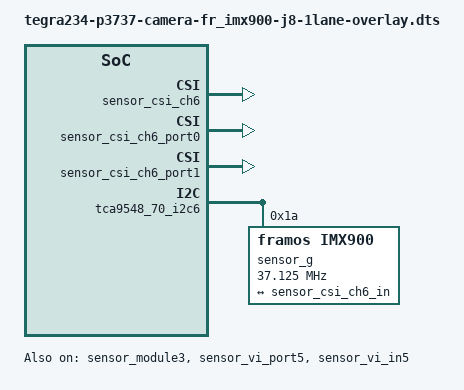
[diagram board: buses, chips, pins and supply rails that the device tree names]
// SPDX-License-Identifier: GPL-2.0
/*
 * Copyright (c) 2024 Framos. All rights reserved.
 *
 * tegra234-p3737-camera-fr_imx900-j8-1lane-overlay.dts - IMX900 sensor device tree
 */

/dts-v1/;
/plugin/;

#include <dt-bindings/clock/tegra234-clock.h>
#include <dt-bindings/gpio/tegra234-gpio.h>
#include <dt-bindings/tegra234-p3737-0000+p3701-0000.h>


/ {
	overlay-name = "Framos IMX900-J8-1Lane";
	jetson-header-name = "Jetson AGX CSI Connector";
	compatible = JETSON_COMPATIBLE;

	fragment@0 {
		target = <&sensor_module3>;
		__overlay__ {
			status = "okay";
			badge = "imx900_topright_framos";
			drivernode0 {
				status = "okay";
				/* Declare PCL support driver (classically known as guid) */
				devname = "imx900 15-001a";
				/* Declare the device-tree hierarchy to driver instance */
				sysfs-device-tree = "/sys/firmware/devicetree/base/bus@0/i2c@3180000/tca9548@70/i2c@6/imx900_g@1a";
			};
		};
	};

	fragment@1 {
		target = <&sensor_vi_port5>;
		__overlay__ {
			status = "okay";
		};
	};

	fragment@2 {
		target = <&sensor_vi_in5>;
		__overlay__ {
			status = "okay";
			bus-width = <1>;
		};
	};

	fragment@3 {
		target = <&sensor_csi_ch6>;
		__overlay__ {
			status = "okay";
			ports {
				status = "okay";
			};
		};
	};

	fragment@4 {
		target = <&sensor_csi_ch6_port0>;
		__overlay__ {
			status = "okay";
		};
	};

	fragment@5 {
		target = <&sensor_csi_ch6_in>;
		__overlay__ {
			status = "okay";
			bus-width = <1>;
			remote-endpoint = <&sensor_out_g>;
		};
	};

	fragment@6 {
		target = <&sensor_csi_ch6_port1>;
		__overlay__ {
			status = "okay";
		};
	};

	fragment@7 {
		target = <&sensor_csi_ch6_out>;
		__overlay__ {
			status = "okay";
		};
	};

	fragment@8 {
		target = <&tca9548_70_i2c6>;
		__overlay__ {
			sensor_g: imx900_g@1a {
				compatible = "framos,imx900";
				reg = <0x1a>;

				/* Define any required hw resources needed by driver */
				/* ie. clocks, io pins, power sources */
				clocks = <&bpmp TEGRA234_CLK_EXTPERIPH1>, <&bpmp TEGRA234_CLK_EXTPERIPH1>;
				clock-names = "extperiph1", "pllp_grtba";
				mclk = "extperiph1";
				clock-frequency = <37125000>;

				devnode = "video6";

				physical_w = "12.00";
				physical_h = "9.30";

				sensor_model ="imx900";

				/* Defines number of frames to be dropped by driver internally after applying */
				/* sensor crop settings. Some sensors send corrupt frames after applying */
				/* crop co-ordinates */
				post_crop_frame_drop = "0";

				/* Convert Gain to unit of dB (decibel) befor passing to kernel driver */
				use_decibel_gain = "true";

				/* if true, delay gain setting by one frame to be in sync with exposure */
				delayed_gain = "false";

				/* enable CID_SENSOR_MODE_ID for sensor modes selection */
				use_sensor_mode_id = "false";

				mode0 {
					mclk_khz = "37125";
					num_lanes = "1";
					tegra_sinterface = "serial_g";
					vc_id = "0";
					phy_mode = "DPHY";
					discontinuous_clk = "no";
					dpcm_enable = "false";
					cil_settletime = "0";
					active_w = "2064";
					active_h = "1552";

					dynamic_pixel_bit_depth = "12";
					csi_pixel_bit_depth = "12";
					mode_type = "bayer";
					pixel_phase = "rggb";

					readout_orientation = "0";
					line_length = "3000";
					inherent_gain = "1";
					pix_clk_hz = "237600000";
					serdes_pix_clk_hz = "12000000000"; /* GMSL predefine */

					gain_factor = "10";
					min_gain_val = "0"; /* 0dB */
					max_gain_val = "480"; /* 48dB */
					step_gain_val = "1"; /* 0.1 */
					default_gain = "0";
					min_hdr_ratio = "1";
					max_hdr_ratio = "1";
					framerate_factor = "1000000";
					min_framerate = "1500000"; /* 1.5 */
					max_framerate = "55000000"; /* 55 */
					step_framerate = "1";
					default_framerate= "55000000";
					exposure_factor = "1000000";
					min_exp_time = "11"; /* us */
					step_exp_time = "1";
					max_exp_time = "660000"; /* us */
					default_exp_time = "10000";/* us */
					embedded_metadata_height = "1";
				};
				mode1 {
					mclk_khz = "37125";
					num_lanes = "1";
					tegra_sinterface = "serial_g";
					vc_id = "0";
					phy_mode = "DPHY";
					discontinuous_clk = "no";
					dpcm_enable = "false";
					cil_settletime = "0";
					active_w = "1920";
					active_h = "1080";

					dynamic_pixel_bit_depth = "12";
					csi_pixel_bit_depth = "12";
					mode_type = "bayer";
					pixel_phase = "rggb";

					readout_orientation = "0";
					line_length = "3000";
					inherent_gain = "1";
					pix_clk_hz = "237600000";
					serdes_pix_clk_hz = "12000000000"; /* GMSL predefine */

					gain_factor = "10";
					min_gain_val = "0"; /* 0dB */
					max_gain_val = "480"; /* 48dB */
					step_gain_val = "1"; /* 0.1 */
					default_gain = "0";
					min_hdr_ratio = "1";
					max_hdr_ratio = "1";
					framerate_factor = "1000000";
					min_framerate = "1500000"; /* 1.5 */
					max_framerate = "77000000"; /* 77 */
					step_framerate = "1";
					default_framerate= "77000000";
					exposure_factor = "1000000";
					min_exp_time = "11"; /* us */
					step_exp_time = "1";
					max_exp_time = "660000"; /* us */
					default_exp_time = "10000";/* us */
					embedded_metadata_height = "1";
				};
				mode2 {
					mclk_khz = "37125";
					num_lanes = "1";
					tegra_sinterface = "serial_g";
					vc_id = "0";
					phy_mode = "DPHY";
					discontinuous_clk = "no";
					dpcm_enable = "false";
					cil_settletime = "0";
					active_w = "1032";
					active_h = "776";

					dynamic_pixel_bit_depth = "12";
					csi_pixel_bit_depth = "12";
					mode_type = "bayer";
					pixel_phase = "gbrg";

					readout_orientation = "0";
					line_length = "3000";
					inherent_gain = "1";
					pix_clk_hz = "237600000";
					serdes_pix_clk_hz = "12000000000"; /* GMSL predefine */

					gain_factor = "10";
					min_gain_val = "0"; /* 0dB */
					max_gain_val = "480"; /* 48dB */
					step_gain_val = "1"; /* 0.1 */
					default_gain = "0";
					min_hdr_ratio = "1";
					max_hdr_ratio = "1";
					framerate_factor = "1000000";
					min_framerate = "1500000"; /* 1.5 */
					max_framerate = "188000000"; /* 188 */
					step_framerate = "1";
					default_framerate= "188000000";
					exposure_factor = "1000000";
					min_exp_time = "6"; /* us */
					step_exp_time = "1";
					max_exp_time = "660000"; /* us */
					default_exp_time = "10000";/* us */
					embedded_metadata_height = "1";
				};
				mode3 {
					mclk_khz = "37125";
					num_lanes = "1";
					tegra_sinterface = "serial_g";
					vc_id = "0";
					phy_mode = "DPHY";
					discontinuous_clk = "no";
					dpcm_enable = "false";
					cil_settletime = "0";
					active_w = "2064";
					active_h = "154";

					dynamic_pixel_bit_depth = "12";
					csi_pixel_bit_depth = "12";
					mode_type = "bayer";
					pixel_phase = "gbrg";

					readout_orientation = "0";
					line_length = "3000";
					inherent_gain = "1";
					pix_clk_hz = "237600000";
					serdes_pix_clk_hz = "12000000000"; /* GMSL predefine */

					gain_factor = "10";
					min_gain_val = "0"; /* 0dB */
					max_gain_val = "480"; /* 48dB */
					step_gain_val = "1"; /* 0.1 */
					default_gain = "0";
					min_hdr_ratio = "1";
					max_hdr_ratio = "1";
					framerate_factor = "1000000";
					min_framerate = "1500000"; /* 1.5 */
					max_framerate = "369000000"; /* 369 */
					step_framerate = "1";
					default_framerate= "369000000";
					exposure_factor = "1000000";
					min_exp_time = "11"; /* us */
					step_exp_time = "1";
					max_exp_time = "660000"; /* us */
					default_exp_time = "10000";/* us */
					embedded_metadata_height = "1";
				};
				mode4 {
					mclk_khz = "37125";
					num_lanes = "1";
					tegra_sinterface = "serial_g";
					vc_id = "0";
					phy_mode = "DPHY";
					discontinuous_clk = "no";
					dpcm_enable = "false";
					cil_settletime = "0";
					active_w = "1024";
					active_h = "720";

					dynamic_pixel_bit_depth = "12";
					csi_pixel_bit_depth = "12";
					mode_type = "bayer";
					pixel_phase = "rggb";

					readout_orientation = "0";
					line_length = "3000";
					inherent_gain = "1";
					pix_clk_hz = "237600000";
					serdes_pix_clk_hz = "12000000000"; /* GMSL predefine */

					gain_factor = "10";
					min_gain_val = "0"; /* 0dB */
					max_gain_val = "480"; /* 48dB */
					step_gain_val = "1"; /* 0.1 */
					default_gain = "0";
					min_hdr_ratio = "1";
					max_hdr_ratio = "1";
					framerate_factor = "1000000";
					min_framerate = "1500000"; /* 1.5 */
					max_framerate = "188000000"; /* 188 */
					step_framerate = "1";
					default_framerate= "188000000";
					exposure_factor = "1000000";
					min_exp_time = "6"; /* us */
					step_exp_time = "1";
					max_exp_time = "660000"; /* us */
					default_exp_time = "10000";/* us */
					embedded_metadata_height = "1";
				};
				mode5 {
					mclk_khz = "37125";
					num_lanes = "1";
					tegra_sinterface = "serial_g";
					vc_id = "0";
					phy_mode = "DPHY";
					discontinuous_clk = "no";
					dpcm_enable = "false";
					cil_settletime = "0";
					active_w = "2064";
					active_h = "1552";

					dynamic_pixel_bit_depth = "10";
					csi_pixel_bit_depth = "10";
					mode_type = "bayer";
					pixel_phase = "rggb";

					readout_orientation = "0";
					line_length = "3000";
					inherent_gain = "1";
					pix_clk_hz = "237600000";
					serdes_pix_clk_hz = "12000000000"; /* GMSL predefine */

					gain_factor = "10";
					min_gain_val = "0"; /* 0dB */
					max_gain_val = "480"; /* 48dB */
					step_gain_val = "1"; /* 0.1 */
					default_gain = "0";
					min_hdr_ratio = "1";
					max_hdr_ratio = "1";
					framerate_factor = "1000000";
					min_framerate = "1500000"; /* 1.5 */
					max_framerate = "65000000"; /* 65 */
					step_framerate = "1";
					default_framerate= "65000000";
					exposure_factor = "1000000";
					min_exp_time = "10"; /* us */
					step_exp_time = "1";
					max_exp_time = "660000"; /* us */
					default_exp_time = "10000";/* us */
					embedded_metadata_height = "1";
				};
				mode6 {
					mclk_khz = "37125";
					num_lanes = "1";
					tegra_sinterface = "serial_g";
					vc_id = "0";
					phy_mode = "DPHY";
					discontinuous_clk = "no";
					dpcm_enable = "false";
					cil_settletime = "0";
					active_w = "1920";
					active_h = "1080";

					dynamic_pixel_bit_depth = "10";
					csi_pixel_bit_depth = "10";
					mode_type = "bayer";
					pixel_phase = "rggb";

					readout_orientation = "0";
					line_length = "3000";
					inherent_gain = "1";
					pix_clk_hz = "237600000";
					serdes_pix_clk_hz = "12000000000"; /* GMSL predefine */

					gain_factor = "10";
					min_gain_val = "0"; /* 0dB */
					max_gain_val = "480"; /* 48dB */
					step_gain_val = "1"; /* 0.1 */
					default_gain = "0";
					min_hdr_ratio = "1";
					max_hdr_ratio = "1";
					framerate_factor = "1000000";
					min_framerate = "1500000"; /* 1.5 */
					max_framerate = "90000000"; /* 90 */
					step_framerate = "1";
					default_framerate= "90000000";
					exposure_factor = "1000000";
					min_exp_time = "10"; /* us */
					step_exp_time = "1";
					max_exp_time = "660000"; /* us */
					default_exp_time = "10000";/* us */
					embedded_metadata_height = "1";
				};
				mode7 {
					mclk_khz = "37125";
					num_lanes = "1";
					tegra_sinterface = "serial_g";
					vc_id = "0";
					phy_mode = "DPHY";
					discontinuous_clk = "no";
					dpcm_enable = "false";
					cil_settletime = "0";
					active_w = "1032";
					active_h = "776";

					dynamic_pixel_bit_depth = "10";
					csi_pixel_bit_depth = "10";
					mode_type = "bayer";
					pixel_phase = "gbrg";

					readout_orientation = "0";
					line_length = "3000";
					inherent_gain = "1";
					pix_clk_hz = "237600000";
					serdes_pix_clk_hz = "12000000000"; /* GMSL predefine */

					gain_factor = "10";
					min_gain_val = "0"; /* 0dB */
					max_gain_val = "480"; /* 48dB */
					step_gain_val = "1"; /* 0.1 */
					default_gain = "0";
					min_hdr_ratio = "1";
					max_hdr_ratio = "1";
					framerate_factor = "1000000";
					min_framerate = "1500000"; /* 1.5 */
					max_framerate = "217000000"; /* 217 */
					step_framerate = "1";
					default_framerate= "217000000";
					exposure_factor = "1000000";
					min_exp_time = "5"; /* us */
					step_exp_time = "1";
					max_exp_time = "660000"; /* us */
					default_exp_time = "10000";/* us */
					embedded_metadata_height = "1";
				};
				mode8 {
					mclk_khz = "37125";
					num_lanes = "1";
					tegra_sinterface = "serial_g";
					vc_id = "0";
					phy_mode = "DPHY";
					discontinuous_clk = "no";
					dpcm_enable = "false";
					cil_settletime = "0";
					active_w = "2064";
					active_h = "154";

					dynamic_pixel_bit_depth = "10";
					csi_pixel_bit_depth = "10";
					mode_type = "bayer";
					pixel_phase = "gbrg";

					readout_orientation = "0";
					line_length = "3000";
					inherent_gain = "1";
					pix_clk_hz = "237600000";
					serdes_pix_clk_hz = "12000000000"; /* GMSL predefine */

					gain_factor = "10";
					min_gain_val = "0"; /* 0dB */
					max_gain_val = "480"; /* 48dB */
					step_gain_val = "1"; /* 0.1 */
					default_gain = "0";
					min_hdr_ratio = "1";
					max_hdr_ratio = "1";
					framerate_factor = "1000000";
					min_framerate = "1500000"; /* 1.5 */
					max_framerate = "420000000"; /* 420 */
					step_framerate = "1";
					default_framerate= "420000000";
					exposure_factor = "1000000";
					min_exp_time = "10"; /* us */
					step_exp_time = "1";
					max_exp_time = "660000"; /* us */
					default_exp_time = "10000";/* us */
					embedded_metadata_height = "1";
				};
				mode9 {
					mclk_khz = "37125";
					num_lanes = "1";
					tegra_sinterface = "serial_g";
					vc_id = "0";
					phy_mode = "DPHY";
					discontinuous_clk = "no";
					dpcm_enable = "false";
					cil_settletime = "0";
					active_w = "1024";
					active_h = "720";

					dynamic_pixel_bit_depth = "10";
					csi_pixel_bit_depth = "10";
					mode_type = "bayer";
					pixel_phase = "rggb";

					readout_orientation = "0";
					line_length = "3000";
					inherent_gain = "1";
					pix_clk_hz = "237600000";
					serdes_pix_clk_hz = "12000000000"; /* GMSL predefine */

					gain_factor = "10";
					min_gain_val = "0"; /* 0dB */
					max_gain_val = "480"; /* 48dB */
					step_gain_val = "1"; /* 0.1 */
					default_gain = "0";
					min_hdr_ratio = "1";
					max_hdr_ratio = "1";
					framerate_factor = "1000000";
					min_framerate = "1500000"; /* 1.5 */
					max_framerate = "217000000"; /* 217 */
					step_framerate = "1";
					default_framerate= "217000000";
					exposure_factor = "1000000";
					min_exp_time = "5"; /* us */
					step_exp_time = "1";
					max_exp_time = "660000"; /* us */
					default_exp_time = "10000";/* us */
					embedded_metadata_height = "1";
				};
				mode10 {
					mclk_khz = "37125";
					num_lanes = "1";
					tegra_sinterface = "serial_g";
					vc_id = "0";
					phy_mode = "DPHY";
					discontinuous_clk = "no";
					dpcm_enable = "false";
					cil_settletime = "0";
					active_w = "2064";
					active_h = "1552";

					dynamic_pixel_bit_depth = "8";
					csi_pixel_bit_depth = "8";
					mode_type = "bayer";
					pixel_phase = "rggb";

					readout_orientation = "0";
					line_length = "3000";
					inherent_gain = "1";
					pix_clk_hz = "237600000";
					serdes_pix_clk_hz = "12000000000"; /* GMSL predefine */

					gain_factor = "10";
					min_gain_val = "0"; /* 0dB */
					max_gain_val = "480"; /* 48dB */
					step_gain_val = "1"; /* 0.1 */
					default_gain = "0";
					min_hdr_ratio = "1";
					max_hdr_ratio = "1";
					framerate_factor = "1000000";
					min_framerate = "1500000"; /* 1.5 */
					max_framerate = "79000000"; /* 79 */
					step_framerate = "1";
					default_framerate= "79000000";
					exposure_factor = "1000000";
					min_exp_time = "8"; /* us */
					step_exp_time = "1";
					max_exp_time = "660000"; /* us */
					default_exp_time = "10000";/* us */
					embedded_metadata_height = "1";
				};
				mode11 {
					mclk_khz = "37125";
					num_lanes = "1";
					tegra_sinterface = "serial_g";
					vc_id = "0";
					phy_mode = "DPHY";
					discontinuous_clk = "no";
					dpcm_enable = "false";
					cil_settletime = "0";
					active_w = "1920";
					active_h = "1080";

					dynamic_pixel_bit_depth = "8";
					csi_pixel_bit_depth = "8";
					mode_type = "bayer";
					pixel_phase = "rggb";

					readout_orientation = "0";
					line_length = "3000";
					inherent_gain = "1";
					pix_clk_hz = "237600000";
					serdes_pix_clk_hz = "12000000000"; /* GMSL predefine */

					gain_factor = "10";
					min_gain_val = "0"; /* 0dB */
					max_gain_val = "480"; /* 48dB */
					step_gain_val = "1"; /* 0.1 */
					default_gain = "0";
					min_hdr_ratio = "1";
					max_hdr_ratio = "1";
					framerate_factor = "1000000";
					min_framerate = "1500000"; /* 1.5 */
					max_framerate = "110000000"; /* 110 */
					step_framerate = "1";
					default_framerate= "110000000";
					exposure_factor = "1000000";
					min_exp_time = "8"; /* us */
					step_exp_time = "1";
					max_exp_time = "660000"; /* us */
					default_exp_time = "10000";/* us */
					embedded_metadata_height = "1";
				};
				mode12 {
					mclk_khz = "37125";
					num_lanes = "1";
					tegra_sinterface = "serial_g";
					vc_id = "0";
					phy_mode = "DPHY";
					discontinuous_clk = "no";
					dpcm_enable = "false";
					cil_settletime = "0";
					active_w = "1032";
					active_h = "776";

					dynamic_pixel_bit_depth = "8";
					csi_pixel_bit_depth = "8";
					mode_type = "bayer";
					pixel_phase = "gbrg";

					readout_orientation = "0";
					line_length = "3000";
					inherent_gain = "1";
					pix_clk_hz = "237600000";
					serdes_pix_clk_hz = "12000000000"; /* GMSL predefine */

					gain_factor = "10";
					min_gain_val = "0"; /* 0dB */
					max_gain_val = "480"; /* 48dB */
					step_gain_val = "1"; /* 0.1 */
					default_gain = "0";
					min_hdr_ratio = "1";
					max_hdr_ratio = "1";
					framerate_factor = "1000000";
					min_framerate = "1500000"; /* 1.5 */
					max_framerate = "256000000"; /* 256 */
					step_framerate = "1";
					default_framerate= "256000000";
					exposure_factor = "1000000";
					min_exp_time = "4"; /* us */
					step_exp_time = "1";
					max_exp_time = "660000"; /* us */
					default_exp_time = "10000";/* us */
					embedded_metadata_height = "1";
				};
				mode13 {
					mclk_khz = "37125";
					num_lanes = "1";
					tegra_sinterface = "serial_g";
					vc_id = "0";
					phy_mode = "DPHY";
					discontinuous_clk = "no";
					dpcm_enable = "false";
					cil_settletime = "0";
					active_w = "2064";
					active_h = "154";

					dynamic_pixel_bit_depth = "8";
					csi_pixel_bit_depth = "8";
					mode_type = "bayer";
					pixel_phase = "gbrg";

					readout_orientation = "0";
					line_length = "3000";
					inherent_gain = "1";
					pix_clk_hz = "237600000";
					serdes_pix_clk_hz = "12000000000"; /* GMSL predefine */

					gain_factor = "10";
					min_gain_val = "0"; /* 0dB */
					max_gain_val = "480"; /* 48dB */
					step_gain_val = "1"; /* 0.1 */
					default_gain = "0";
					min_hdr_ratio = "1";
					max_hdr_ratio = "1";
					framerate_factor = "1000000";
					min_framerate = "1500000"; /* 1.5 */
					max_framerate = "486000000"; /* 486 */
					step_framerate = "1";
					default_framerate= "486000000";
					exposure_factor = "1000000";
					min_exp_time = "8"; /* us */
					step_exp_time = "1";
					max_exp_time = "660000"; /* us */
					default_exp_time = "10000";/* us */
					embedded_metadata_height = "1";
				};
				mode14 {
					mclk_khz = "37125";
					num_lanes = "1";
					tegra_sinterface = "serial_g";
					vc_id = "0";
					phy_mode = "DPHY";
					discontinuous_clk = "no";
					dpcm_enable = "false";
					cil_settletime = "0";
					active_w = "1024";
					active_h = "720";

					dynamic_pixel_bit_depth = "8";
					csi_pixel_bit_depth = "8";
					mode_type = "bayer";
					pixel_phase = "rggb";

					readout_orientation = "0";
					line_length = "3000";
					inherent_gain = "1";
					pix_clk_hz = "237600000";
					serdes_pix_clk_hz = "12000000000"; /* GMSL predefine */

					gain_factor = "10";
					min_gain_val = "0"; /* 0dB */
					max_gain_val = "480"; /* 48dB */
					step_gain_val = "1"; /* 0.1 */
					default_gain = "0";
					min_hdr_ratio = "1";
					max_hdr_ratio = "1";
					framerate_factor = "1000000";
					min_framerate = "1500000"; /* 1.5 */
					max_framerate = "256000000"; /* 256 */
					step_framerate = "1";
					default_framerate= "256000000";
					exposure_factor = "1000000";
					min_exp_time = "4"; /* us */
					step_exp_time = "1";
					max_exp_time = "660000"; /* us */
					default_exp_time = "10000";/* us */
					embedded_metadata_height = "1";
				};
				ports {
					#address-cells = <1>;
					#size-cells = <0>;
					port@0 {
						reg = <0>;
						sensor_out_g: endpoint {
							vc-id = <0>;
							port-index = <6>;
							bus-width = <1>;
							remote-endpoint = <&sensor_csi_ch6_in>;
						};
					};
				};
			};
		};
	};
};
